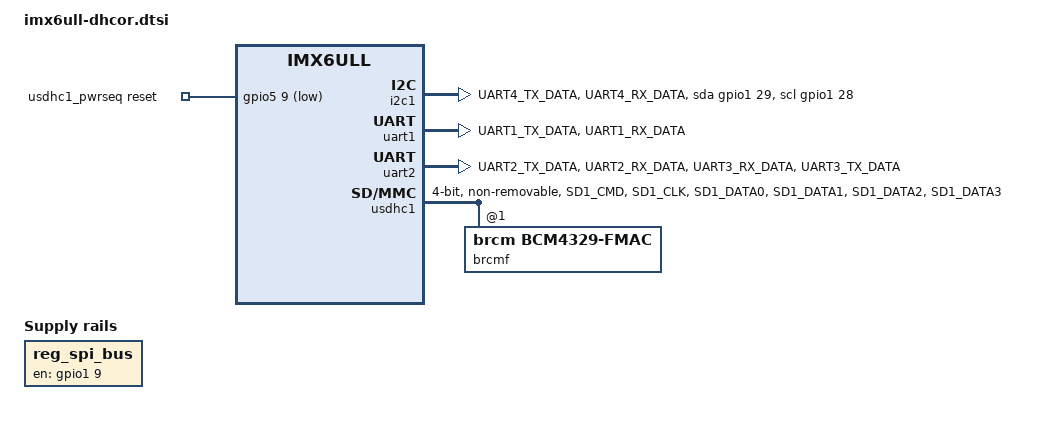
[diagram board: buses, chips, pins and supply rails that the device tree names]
// SPDX-License-Identifier: (GPL-2.0-or-later)
/*
 * Copyright (C) 2019 DH electronics GmbH
 */

#include "imx6ull.dtsi"

/ {
	aliases {
		/delete-property/ mmc0; /* Avoid double definitions */
		/delete-property/ mmc1;
		/delete-property/ mmc2;
	};

	chosen {
		stdout-path = &uart1;
	};

	memory@80000000 { /* Appropriate memory size will be filled by u-boot */
		device_type = "memory";
		reg = <0x80000000 0>;
	};

	/*
	 * Pin SPI_BOOT_FLASH_EN (1.9) = HIGH means
	 * SPI bootflash => non-accessible
	 * SPI bus       =>     accessible
	 */
	reg_spi_bus: regulator-spi-bus {
		compatible = "regulator-fixed";
		regulator-name = "spi_bus_enable";
		regulator-always-on;
		gpio = <&gpio1 9 GPIO_ACTIVE_HIGH>;
		enable-active-high;
	};

	reserved-memory {
		#address-cells = <1>;
		#size-cells = <1>;
		ranges;

		/* First 1 MiB DDR3 memory for data/firmware like EDID */
		firmware@80000000 {
			reg = <0x80000000 0x100000>;
			no-map;
		};
	};

	/omit-if-no-ref/ usdhc1_pwrseq: usdhc1-pwrseq {
		compatible = "mmc-pwrseq-simple";
		reset-gpios = <&gpio5 9 GPIO_ACTIVE_LOW>; /* WL_REG_ON */
	};
};

&clks {
	assigned-clocks = <&clks IMX6UL_CLK_PLL3_PFD2>;
	assigned-clock-rates = <320000000>;
};

&i2c1 {
	pinctrl-names = "default", "gpio";
	pinctrl-0 = <&pinctrl_i2c1>;
	pinctrl-1 = <&pinctrl_i2c1_gpio>;
	scl-gpios = <&gpio1 28 (GPIO_ACTIVE_HIGH | GPIO_OPEN_DRAIN)>;
	sda-gpios = <&gpio1 29 (GPIO_ACTIVE_HIGH | GPIO_OPEN_DRAIN)>;
	clock_frequency = <100000>;
	status = "okay";

	pmic@58 {
		compatible = "dlg,da9061";
		reg = <0x58>;
		interrupt-parent = <&gpio4>;
		interrupts = <21 IRQ_TYPE_LEVEL_LOW>;
		interrupt-controller;
		status = "disabled"; /* TODO: Activate and test PMIC */

		onkey {
			compatible = "dlg,da9061-onkey", "dlg,da9062-onkey";
			dlg,disable-key-power;
		};

		watchdog {
			compatible = "dlg,da9061-watchdog", "dlg,da9062-watchdog";
		};

		thermal {
			compatible = "dlg,da9061-thermal", "dlg,da9062-thermal";
			polling-delay-passive = <3000>;
		};

		regulators {
			vdd_soc_in_1v4: buck1 {
				regulator-name = "vdd_soc_in_1v4";
				regulator-min-microvolt = <730000>;
				regulator-max-microvolt = <1380000>;
				regulator-always-on;
			};

			vcc_3v3: buck2 {
				regulator-name = "vcc_3v3";
				regulator-min-microvolt = <3300000>;
				regulator-max-microvolt = <3300000>;
				regulator-always-on;
			};

			vcc_ddr_1v35: buck3 {
				regulator-name = "vcc_ddr_1v35";
				regulator-min-microvolt = <1350000>;
				regulator-max-microvolt = <1350000>;
				regulator-always-on;
			};

			vcc_2v5: ldo1 {
				regulator-name = "vcc_2v5";
				regulator-min-microvolt = <2500000>;
				regulator-max-microvolt = <2500000>;
				regulator-always-on;
			};

			vdd_snvs_in_3v3: ldo2 {
				regulator-name = "vdd_snvs_in_3v3";
				regulator-min-microvolt = <3300000>;
				regulator-max-microvolt = <3300000>;
				regulator-always-on;
			};

			vcc_1v8: ldo3 {
				regulator-name = "vcc_1v8";
				regulator-min-microvolt = <1800000>;
				regulator-max-microvolt = <1800000>;
			};

			vcc_1v2: ldo4 {
				regulator-name = "vcc_1v2";
				regulator-min-microvolt = <1200000>;
				regulator-max-microvolt = <1200000>;
			};
		};
	};
};

&ocotp {
	read-only; /* Don't get write access by default */
};

&uart1 {
	pinctrl-names = "default";
	pinctrl-0 = <&pinctrl_uart1>;
	status = "okay";
};

&uart2 { /* BT on LGA */
	pinctrl-names = "default";
	pinctrl-0 = <&pinctrl_uart2>;
	uart-has-rtscts;
	status = "okay";
};

&usdhc1 { /* WiFi on LGA */
	pinctrl-names = "default";
	pinctrl-0 = <&pinctrl_usdhc1_wifi>;
	bus-width = <4>;
	no-1-8-v;
	non-removable;
	mmc-pwrseq = <&usdhc1_pwrseq>;
	status = "okay";

	#address-cells = <1>;
	#size-cells = <0>;

	brcmf: wifi@1 {
		compatible = "brcm,bcm4329-fmac";
		reg = <1>;
	};
};

&iomuxc {
	pinctrl-names = "default";
	pinctrl-0 = <&pinctrl_hog_dhcor>;

	pinctrl_hog_dhcor: hog-dhcor-grp {
		fsl,pins = <
			MX6UL_PAD_GPIO1_IO09__GPIO1_IO09	0x4001b0b0 /* SPI_BOOT_FLASH_EN */
		>;
	};

	pinctrl_i2c1: i2c1-grp {
		fsl,pins = <
			MX6UL_PAD_UART4_TX_DATA__I2C1_SCL	0x4001b8b0
			MX6UL_PAD_UART4_RX_DATA__I2C1_SDA	0x4001b8b0
		>;
	};

	pinctrl_i2c1_gpio: i2c1-gpio-grp {
		fsl,pins = <
			MX6UL_PAD_UART4_TX_DATA__GPIO1_IO28	0x4001b8b0
			MX6UL_PAD_UART4_RX_DATA__GPIO1_IO29	0x4001b8b0
		>;
	};

	pinctrl_uart1: uart1-grp {
		fsl,pins = <
			MX6UL_PAD_UART1_TX_DATA__UART1_DCE_TX	0x1b0b1
			MX6UL_PAD_UART1_RX_DATA__UART1_DCE_RX	0x1b0b1
		>;
	};

	pinctrl_uart2: uart2-grp {
		fsl,pins = <
			MX6UL_PAD_UART2_TX_DATA__UART2_DCE_TX	0x1b0b1
			MX6UL_PAD_UART2_RX_DATA__UART2_DCE_RX	0x1b0b1
			MX6UL_PAD_UART3_RX_DATA__UART2_DCE_RTS	0x1b0b1
			MX6UL_PAD_UART3_TX_DATA__UART2_DCE_CTS	0x1b0b1
		>;
	};

	pinctrl_usdhc1_wifi: usdhc1-wifi-grp {
		fsl,pins = <
			MX6UL_PAD_SD1_CMD__USDHC1_CMD		0x1b0b0
			MX6UL_PAD_SD1_CLK__USDHC1_CLK		0x10010
			MX6UL_PAD_SD1_DATA0__USDHC1_DATA0	0x1b0b0
			MX6UL_PAD_SD1_DATA1__USDHC1_DATA1	0x1b0b0
			MX6UL_PAD_SD1_DATA2__USDHC1_DATA2	0x1b0b0
			MX6UL_PAD_SD1_DATA3__USDHC1_DATA3	0x1b0b0
		>;
	};
};

&iomuxc_snvs {
};
